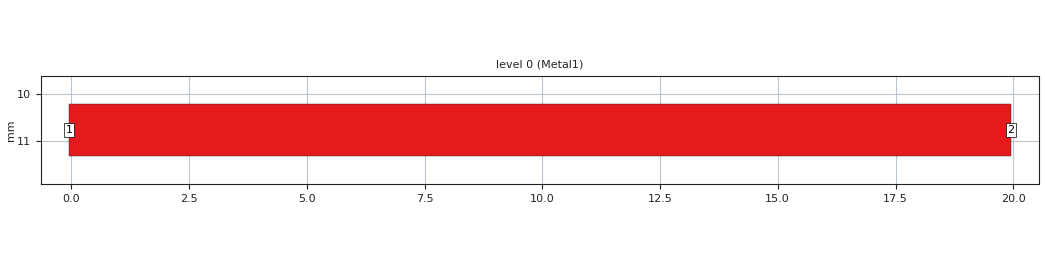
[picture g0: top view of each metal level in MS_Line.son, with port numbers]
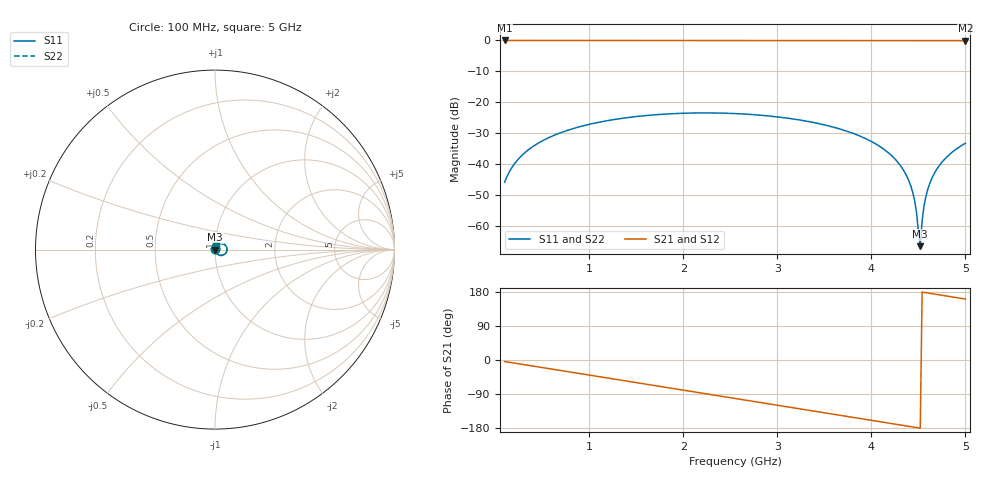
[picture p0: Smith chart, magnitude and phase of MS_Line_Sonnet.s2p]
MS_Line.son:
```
FTYP SONPROJ 19 ! Sonnet Project File
VER 18.53
HEADER
LIC SL685a1842
DAT 07/03/2025 19:23:35
BUILT_BY_CREATED xgeom 18.53-Lite 06/25/2025 21:43:06
BUILT_BY_SAVED sonnet 18.53-Lite
MDATE 07/03/2025 19:22:48
HDATE 07/03/2025 19:22:48
END HEADER
DIM
ANG DEG
CAP PF
CON /OH
FREQ GHZ
IND NH
LNG MM
RES OH
END DIM
CONTROL
VARSWP
OPTIONS  -bd
FORCERUN
SPEED 0
CACHE_ABS 2
Q_ACC N
END CONTROL
GEO
TMET "Lossless" 0 SUP 0 0 0 0
BMET "Lossless" 0 SUP 0 0 0 0
MET "Copper" 1 NOR 58000000 0.5 32 
BOX 1 19.9131 21.5289 306 584 20 0
      10 1 1 0 0 0 0 "Air"
      0.508 3.55 1 0.0029 0 0 0 "Rogers RO4003C"
TECHLAY METAL Metal1 <UNSPECIFIED> -2 -65534 
0 0 0 N 261 1 1 100 100 0 0 0 Y
END
END
VALVAR L1 LNG 20 "Dim. Param."
VALVAR W1 LNG 1.1 "Dim. Param."
LORGN 0 21.5289 U 
POR1 BOX
POLY 244 1
3
1 50 0 0 0 -0.044194 10.76291773 
POR1 BOX
POLY 244 1
1
2 50 0 0 0 19.955806 10.76291773 
NUM 1
0 5 0 N 244 1 1 100 100 0 0 0 Y
TLAYNAM Metal1 NOH
-0.044194 10.21291773
19.955806 10.21291773
19.955806 11.31291773
-0.044194 11.31291773
-0.044194 10.21291773
END
END GEO
OPT
MAX 100
END OPT
VARSWP
ENABLED Y
FREQ Y AY ABS_ENTRY 0.1 5.0 -1 300 
VAR L1 N 53.2619209 53.2619209 UNDEF
VAR W1 N 22.1159818 22.1159818 UNDEF
END
END VARSWP
FILEOUT
TOUCH D Y $BASENAME_Sonnet.s2p IC 15 S MA R 50.00000
FOLDER .
END FILEOUT
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```
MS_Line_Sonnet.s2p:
! Sonnet Data File
! From: em Version : 18.53-Lite
! From Project: MS_Line
! Data is De-embedded
! Data File Written: 07/03/2025 19:22:53
!< HDATE 07/03/2025 19:22:48
!< MDATE 07/03/2025 19:22:48
!< PARAMS
!< L1 = 20.0
!< W1 = 1.1
!< END PARAMS
# GHZ S MA R 50.00000
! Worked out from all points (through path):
!   246 points, 100 MHz to 5 GHz, reference 50 ohm
!   highest |S21| = 0.00 dB at 100 MHz (marker M1); lowest = -0.1 dB at 5 GHz (marker M2)
!   group delay of S21, straight-line fit = 111 ps
!   lowest |S11| = -66.7 dB at 4.52 GHz (marker M3), VSWR 1.00, Z = 50 + j0.0214 ohm
!   |S11| at or under -10 dB: start of sweep to end of sweep
!   |S22| runs from -66.7 to -23.5 dB; largest |S21 - S12| = 2.7e-13
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0.1  0.005009 82.9  0.9996 -4.0  0.9996 -4.0  0.005009 82.9
0.36  0.01721 74.4  0.9989 -14.4  0.9989 -14.4  0.01721 74.4
0.84  0.0377 56.1  0.9976 -33.5  0.9976 -33.5  0.0377 56.1
2.56  0.06517 -11.5  0.9939 -101.8  0.9939 -101.8  0.06517 -11.5
4.12  0.01781 -72.3  0.994 -163.9  0.994 -163.9  0.01781 -72.3
4.4  0.005257 -80.3  0.9938 -175.1  0.9938 -175.1  0.005257 -80.3
4.46  0.002549 -77.8  0.9938 -177.5  0.9938 -177.5  0.002549 -77.8
4.52  0.0004626 27.6  0.9937 -179.9  0.9937 -179.9  0.0004627 27.6
4.56  0.002068 77.4  0.9937 178.5  0.9937 178.5  0.002068 77.4
4.64  0.005664 81.5  0.9936 175.3  0.9936 175.3  0.005663 81.5
5  0.02151 70.3  0.993 160.9  0.993 160.9  0.02151 70.3
